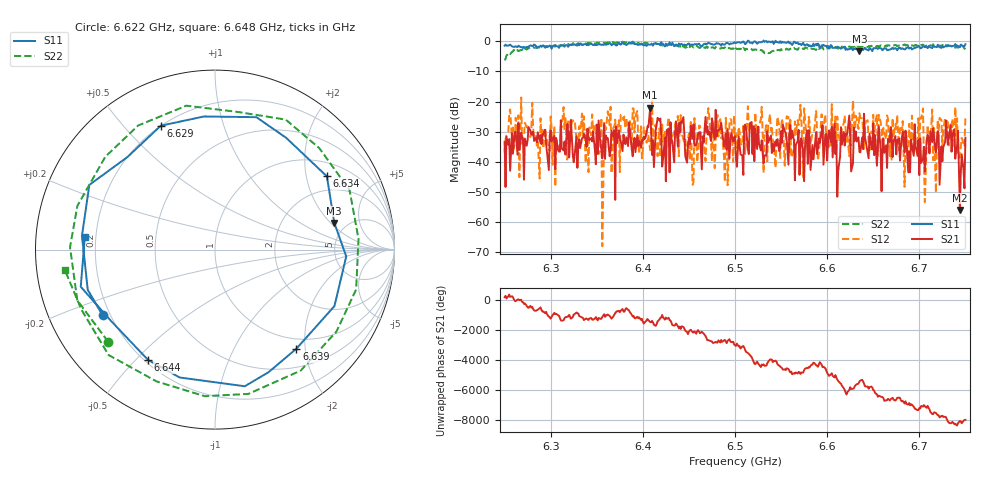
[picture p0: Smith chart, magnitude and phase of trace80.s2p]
# Hz S RI R 50
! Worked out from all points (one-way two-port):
!   401 points, 6.25 GHz to 6.75 GHz, reference 50 ohm
!   highest |S21| = -21.98 dB at 6.408 GHz (marker M1); lowest = -55.9 dB at 6.744 GHz (marker M2)
!   lowest |S11| = -3.3 dB at 6.635 GHz (marker M3), VSWR 5.27, Z = 199 + j111 ohm
!   |S11| at or under -10 dB: nowhere
!   |S22| runs from -6.3 to -0.1 dB; largest |S21 - S12| = 0.15
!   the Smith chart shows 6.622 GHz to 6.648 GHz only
!   S11 on the Smith chart (normalised r, x): 6.622 GHz: 0.17, -0.26; 6.629 GHz: 0.20, +0.64; 6.634 GHz: 1.44, +2.65; 6.639 GHz: 0.81, -1.83; 6.644 GHz: 0.21, -0.54; 6.648 GHz: 0.16, +0.05
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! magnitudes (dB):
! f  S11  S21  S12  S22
! 6.25 GHz  -1.5  -33.4  -36.9  -6.3
! 6.334 GHz  -1.3  -32.2  -24.0  -0.9
! 6.354 GHz  -1.0  -34.4  -35.7  -0.5
! 6.362 GHz  -1.0  -32.2  -23.2  -0.3
! 6.408 GHz  -1.2  -22.0  -36.1  -0.5
! 6.418 GHz  -1.1  -26.3  -28.9  -1.1
! 6.422 GHz  -1.0  -38.9  -33.6  -0.8
! 6.441 GHz  -1.1  -26.8  -24.5  -1.8
! 6.5 GHz  -0.3  -31.5  -31.8  -2.2
! 6.584 GHz  -1.6  -34.4  -30.7  -2.6
! 6.611 GHz  -2.2  -51.6  -25.0  -1.8
! 6.622 GHz  -2.8  -30.4  -31.5  -2.1
! 6.629 GHz  -2.5  -28.6  -25.0  -1.8
! 6.634 GHz  -2.6  -31.8  -29.1  -1.8
! 6.635 GHz  -3.3  -36.7  -23.9  -1.7
! 6.639 GHz  -2.9  -35.8  -29.6  -1.8
! 6.644 GHz  -2.9  -37.1  -26.2  -1.9
! 6.648 GHz  -2.7  -35.2  -30.0  -1.5
! 6.668 GHz  -2.7  -33.4  -38.1  -1.5
! 6.731 GHz  -1.3  -34.3  -26.4  -1.5
! 6.744 GHz  -2.0  -55.9  -38.6  -1.8
! 6.75 GHz  -1.0  -32.0  -25.2  -2.3
